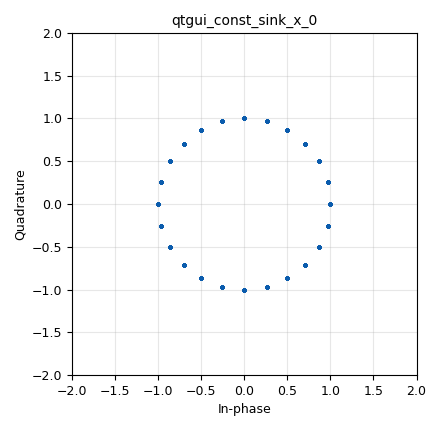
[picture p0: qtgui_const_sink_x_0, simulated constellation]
options:
  parameters:
    author: Gary Schafer
    generate_options: qt_gui
    id: swTunerArray
    output_language: python
    title: Software Tuner - Vector Array
  states: {}

blocks:
- name: cf
  id: variable_qtgui_entry
  parameters:
    gui_hint: 0,0,1,10
    label: Center Frequency (MHz)
    type: real
    value: '162.3'
  states: {}
- name: freqShift
  id: variable
  parameters:
    value: 25e3
  states: {}
- name: lineArray
  id: variable
  parameters:
    value: np.arange(0,shiftVal,1)
  states: {}
- name: rfGain
  id: variable_qtgui_range
  parameters:
    gui_hint: 0,10,1,10
    label: RF Gain (dB)
    start: '0'
    step: '1'
    stop: '50'
    value: '20'
  states: {}
- name: rotateVal
  id: variable
  parameters:
    value: np.exp(-2j*np.pi*lineArray*stepNum/shiftVal)
  states: {}
- name: samp_rate
  id: variable
  parameters:
    value: 2.4e6
  states: {}
- name: shiftVal
  id: variable
  parameters:
    value: samp_rate/freqShift
  states: {}
- name: stepNum
  id: variable_qtgui_range
  parameters:
    gui_hint: 1,0,1,20
    label: 25 kHz Step Number
    start: '-shiftVal'
    step: '1'
    stop: shiftVal
    value: '4'
  states: {}
- name: analog_const_source_x_0
  id: analog_const_source_x
  parameters:
    comment: |-
      Create line at center
      frequency.
    const: '10'
    type: complex
  states: {}
- name: blocks_multiply_xx_0
  id: blocks_multiply_xx
  parameters:
    type: complex
  states: {}
- name: blocks_vector_source_x_0
  id: blocks_vector_source_x
  parameters:
    repeat: 'True'
    type: complex
    vector: rotateVal
  states: {}
- name: import_0
  id: import
  parameters:
    imports: import numpy as np
  states: {}
- name: qtgui_const_sink_x_0
  id: qtgui_const_sink_x
  parameters:
    grid: 'True'
    gui_hint: 2,15,20,5
    size: '2400'
    style1: '1'
    type: complex
  states: {}
- name: qtgui_freq_sink_x_0
  id: qtgui_freq_sink_x
  parameters:
    bw: samp_rate
    fc: cf*1e6+(stepNum*freqShift)
    fftsize: '16384'
    grid: 'True'
    gui_hint: 2,0,20,15
    label1: Spectrum
    label2: CF
    nconnections: '2'
    type: complex
    ymax: '-20'
    ymin: '-120'
  states: {}
- name: rtlsdr_source_0
  id: rtlsdr_source
  parameters:
    bb_gain0: '20'
    freq0: cf*1e6
    gain0: rfGain
    gain_mode0: 'False'
    if_gain0: '20'
    sample_rate: samp_rate
    sync: sync
    type: fc32
  states: {}

connections:
- [analog_const_source_x_0, '0', qtgui_freq_sink_x_0, '1']
- [blocks_multiply_xx_0, '0', qtgui_freq_sink_x_0, '0']
- [blocks_vector_source_x_0, '0', blocks_multiply_xx_0, '1']
- [blocks_vector_source_x_0, '0', qtgui_const_sink_x_0, '0']
- [rtlsdr_source_0, '0', blocks_multiply_xx_0, '0']

metadata:
  file_format: 1
